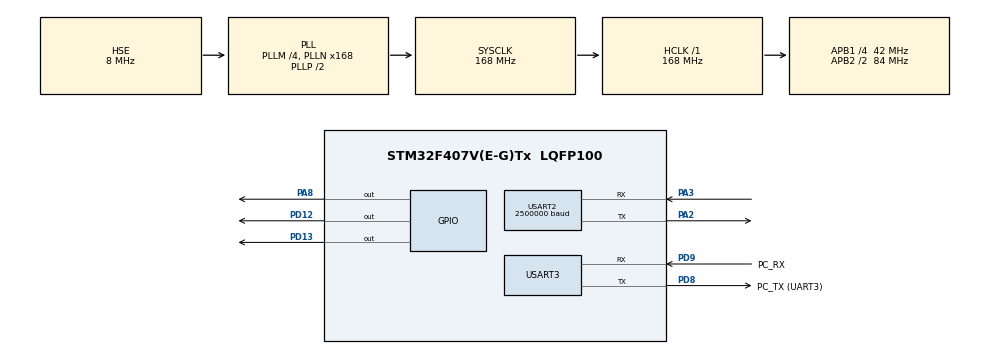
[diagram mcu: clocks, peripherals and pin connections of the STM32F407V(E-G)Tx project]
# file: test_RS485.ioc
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Dma.Request0=USART2_RX
Dma.Request1=USART2_TX
Dma.USART2_RX.0.Direction=DMA_PERIPH_TO_MEMORY
Dma.USART2_RX.0.FIFOMode=DMA_FIFOMODE_DISABLE
Dma.USART2_RX.0.Instance=DMA1_Stream5
Dma.USART2_RX.0.MemDataAlignment=DMA_MDATAALIGN_BYTE
Dma.USART2_RX.0.MemInc=DMA_MINC_ENABLE
Dma.USART2_RX.0.Mode=DMA_NORMAL
Dma.USART2_RX.0.PeriphDataAlignment=DMA_PDATAALIGN_BYTE
Dma.USART2_RX.0.PeriphInc=DMA_PINC_DISABLE
Dma.USART2_RX.0.Priority=DMA_PRIORITY_LOW
Dma.USART2_TX.1.Direction=DMA_MEMORY_TO_PERIPH
Dma.USART2_TX.1.FIFOMode=DMA_FIFOMODE_DISABLE
Dma.USART2_TX.1.Instance=DMA1_Stream6
Dma.USART2_TX.1.MemDataAlignment=DMA_MDATAALIGN_BYTE
Dma.USART2_TX.1.MemInc=DMA_MINC_ENABLE
Dma.USART2_TX.1.Mode=DMA_CIRCULAR
Dma.USART2_TX.1.PeriphDataAlignment=DMA_PDATAALIGN_BYTE
Dma.USART2_TX.1.PeriphInc=DMA_PINC_DISABLE
Dma.USART2_TX.1.Priority=DMA_PRIORITY_LOW
Mcu.Family=STM32F4
Mcu.Name=STM32F407V(E-G)Tx
Mcu.Package=LQFP100
NVIC.DMA1_Stream5_IRQn=true\:14\:0\:true\:false\:true\:false\:true\:true
NVIC.DMA1_Stream6_IRQn=true\:14\:0\:true\:false\:true\:false\:true\:true
NVIC.PriorityGroup=NVIC_PRIORITYGROUP_4
NVIC.USART2_IRQn=true\:14\:0\:true\:false\:true\:true\:true\:true
NVIC.USART3_IRQn=true\:14\:0\:true\:false\:true\:true\:true\:true
PA2.Mode=Asynchronous
PA2.Signal=USART2_TX
PA3.Mode=Asynchronous
PA3.Signal=USART2_RX
PA8.GPIO_Speed=GPIO_SPEED_FREQ_VERY_HIGH
PA8.Signal=GPIO_Output
PD12.Signal=GPIO_Output
PD13.Signal=GPIO_Output
PD8.GPIO_Label=PC_TX (UART3)
PD8.Mode=Asynchronous
PD8.Signal=USART3_TX
PD9.GPIO_Label=PC_RX
PD9.Mode=Asynchronous
PD9.Signal=USART3_RX
PH0-OSC_IN.Mode=HSE-External-Oscillator
PH0-OSC_IN.Signal=RCC_OSC_IN
PH1-OSC_OUT.Mode=HSE-External-Oscillator
PH1-OSC_OUT.Signal=RCC_OSC_OUT
ProjectManager.HeapSize=0x200
ProjectManager.StackSize=0x400
ProjectManager.TargetToolchain=MDK-ARM V5
RCC.48MHZClocksFreq_Value=84000000
RCC.AHBFreq_Value=168000000
RCC.APB1CLKDivider=RCC_HCLK_DIV4
RCC.APB1Freq_Value=42000000
RCC.APB1TimFreq_Value=84000000
RCC.APB2CLKDivider=RCC_HCLK_DIV2
RCC.APB2Freq_Value=84000000
RCC.APB2TimFreq_Value=168000000
RCC.CortexFreq_Value=168000000
RCC.HCLKFreq_Value=168000000
RCC.HSE_VALUE=8000000
RCC.HSI_VALUE=16000000
RCC.LSE_VALUE=32768
RCC.PLLM=4
RCC.PLLN=168
RCC.PLLSourceVirtual=RCC_PLLSOURCE_HSE
RCC.SYSCLKFreq_VALUE=168000000
RCC.SYSCLKSource=RCC_SYSCLKSOURCE_PLLCLK
RCC.VCOOutputFreq_Value=336000000
TIM8.Period=0xffff-1
TIM8.Prescaler=168-1
USART2.BaudRate=2500000
USART2.VirtualMode=VM_ASYNC
USART3.VirtualMode=VM_ASYNC
VP_TIM8_VS_ClockSourceINT.Mode=Internal
board=custom

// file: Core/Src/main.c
/* USER CODE BEGIN Header */
/**
  ******************************************************************************
  * @file           : main.c
  * @brief          : Main program body
  ******************************************************************************
  * @attention
  *
  * Copyright (c) 2022 STMicroelectronics.
  * All rights reserved.
  *
  * This software is licensed under terms that can be found in the LICENSE file
  * in the root directory of this software component.
  * If no LICENSE file comes with this software, it is provided AS-IS.
  *
  ******************************************************************************
  */
/* USER CODE END Header */
#include "main.h"

/* USER CODE BEGIN Includes */
#include "stdlib.h"
#include "stdio.h"
#include "stdarg.h"
#include "math.h"

#include "RMD_L_RS485.h"
/* USER CODE END Includes */

/* USER CODE BEGIN PTD */
#define PI		3.14159265358979323846

float Amp = 60*PI/180.*(1000./17.); //tracking amplitude
float F = 0.6; //tracking freq

/* USER CODE END PTD */

 TIM_HandleTypeDef htim8;

UART_HandleTypeDef huart2;
UART_HandleTypeDef huart3;
DMA_HandleTypeDef hdma_usart2_rx;
DMA_HandleTypeDef hdma_usart2_tx;

void SystemClock_Config(void);
static void MX_GPIO_Init(void);
static void MX_USART3_UART_Init(void);
static void MX_DMA_Init(void);
static void MX_USART2_UART_Init(void);
static void MX_TIM8_Init(void);
/* USER CODE BEGIN PFP */

void printData(char* format, ...){

  char* str = malloc( 64 * sizeof(char) );
  va_list ap;
  va_start(ap, format);
  vsprintf(str, format, ap);
  HAL_UART_Transmit(&huart3, (uint8_t *)str, strlen(str), 100);
  va_end(ap);

  free(str);
}

/* USER CODE END PFP */

/* USER CODE BEGIN 0 */
uint8_t CMD = 0;
// RMD_Motordef Motor1 = {
//     .ID = 1
// };
RMD_Motordef Motor[2] = {
            {.ID = 1},
            {.ID = 4}
    };
/* USER CODE END 0 */

int main(void)
{

  /* MCU Configuration--------------------------------------------------------*/

  /* Reset of all peripherals, Initializes the Flash interface and the Systick. */
  HAL_Init();

  /* Configure the system clock */
  SystemClock_Config();

  /* Initialize all configured peripherals */
  MX_GPIO_Init();
  MX_USART3_UART_Init();
  MX_DMA_Init();
  MX_USART2_UART_Init();
  MX_TIM8_Init();
  /* USER CODE BEGIN 2 */
  printData("test start...\n");
  RS_Init_Handle(&huart2, GPIOA, GPIO_PIN_8, &htim8);

  RS_SetZero_CurPosition(&Motor[0]);
  HAL_Delay(100);
  RS_SetZero_CurPosition(&Motor[1]);
  HAL_Delay(100);

  HAL_GPIO_TogglePin(GPIOD, GPIO_PIN_12);
  HAL_GPIO_TogglePin(GPIOD, GPIO_PIN_13);
  RS_CloseBLDC(&Motor[0]);HAL_Delay(1);RS_CloseBLDC(&Motor[1]);
  RS_Write_PID_RAM(&Motor[0], 100, 5, 200, 5, 100, 5);
  // RS_Write_PID_RAM(1, 50, 50, 100, 5, 100, 50);
  int16_t angleCMD = 0;
  int t;

  HAL_UART_Receive_IT(&huart3, &CMD, 1);
  /* USER CODE END 2 */

  /* Infinite loop */
  /* USER CODE BEGIN WHILE */
  while (1)
  {
    switch(CMD){
      case 49:
        RS_CloseBLDC(&Motor[0]);delay_us(500);
        RS_CloseBLDC(&Motor[1]);
        CMD = 0;
        break;
      case 50:
        t = HAL_GetTick();
        angleCMD = (int16_t)(Amp*sin(2.*PI*F*t/1000.)*100);
        RS_ABSangleControl(&Motor[0], angleCMD, 1800);
        RS_Read_MultiAngle(&Motor[0]);
        printData("%d %d %.2f ",t, angleCMD, Motor[0].state.angle);
        RS_ABSangleControl(&Motor[1], angleCMD, 1800);
        RS_Read_MultiAngle(&Motor[1]);
        printData("%.2f\n",Motor[1].state.angle);
        HAL_Delay(1);
        break;
      case 51:
        RS_SET_BaudRate(&Motor[0], 0x04);
        HAL_Delay(1);
        RS_SET_BaudRate(&Motor[1], 0x04);
        printData("OK\n");
        CMD = 0;
        break;
      case 52:
        RS_Read_MultiAngle(&Motor[0]);//HAL_Delay(1);
        RS_Read_MultiAngle(&Motor[1]);
        printData("%.2f %.2f\n", Motor[0].state.angle, Motor[1].state.angle);
        CMD = 0;
        break;
      case 53:
        RS_GET_MotorType(&Motor[0]);
        printData("%s\n",Motor[0].Type[0]);
        CMD = 0;
        break;
      case 54:
        RS_SET_485ID(Motor, 1, 0, sizeof(Motor)/sizeof(RMD_Motordef));
        CMD = 0;
        break;
      case 55:
        t = HAL_GetTick();
        RS_ReadState3(&Motor[0]);
        RS_speedControl(&Motor[0], 18000);
        printData("%d %.2f %.2f %.2f\n",t, Motor[0].state.A_Phase_cur, Motor[0].state.B_Phase_cur, Motor[0].state.C_Phase_cur);
        break;
      default:
        break;
    }
    /* USER CODE END WHILE */

  }
}

void SystemClock_Config(void)
{
  RCC_OscInitTypeDef RCC_OscInitStruct = {0};
  RCC_ClkInitTypeDef RCC_ClkInitStruct = {0};

  /** Configure the main internal regulator output voltage
  */
  __HAL_RCC_PWR_CLK_ENABLE();
  __HAL_PWR_VOLTAGESCALING_CONFIG(PWR_REGULATOR_VOLTAGE_SCALE1);

  /** Initializes the RCC Oscillators according to the specified parameters
  * in the RCC_OscInitTypeDef structure.
  */
  RCC_OscInitStruct.OscillatorType = RCC_OSCILLATORTYPE_HSE;
  RCC_OscInitStruct.HSEState = RCC_HSE_ON;
  RCC_OscInitStruct.PLL.PLLState = RCC_PLL_ON;
  RCC_OscInitStruct.PLL.PLLSource = RCC_PLLSOURCE_HSE;
  RCC_OscInitStruct.PLL.PLLM = 4;
  RCC_OscInitStruct.PLL.PLLN = 168;
  RCC_OscInitStruct.PLL.PLLP = RCC_PLLP_DIV2;
  RCC_OscInitStruct.PLL.PLLQ = 4;
  if (HAL_RCC_OscConfig(&RCC_OscInitStruct) != HAL_OK)
  {
    Error_Handler();
  }

  /** Initializes the CPU, AHB and APB buses clocks
  */
  RCC_ClkInitStruct.ClockType = RCC_CLOCKTYPE_HCLK|RCC_CLOCKTYPE_SYSCLK
                              |RCC_CLOCKTYPE_PCLK1|RCC_CLOCKTYPE_PCLK2;
  RCC_ClkInitStruct.SYSCLKSource = RCC_SYSCLKSOURCE_PLLCLK;
  RCC_ClkInitStruct.AHBCLKDivider = RCC_SYSCLK_DIV1;
  RCC_ClkInitStruct.APB1CLKDivider = RCC_HCLK_DIV4;
  RCC_ClkInitStruct.APB2CLKDivider = RCC_HCLK_DIV2;

  if (HAL_RCC_ClockConfig(&RCC_ClkInitStruct, FLASH_LATENCY_5) != HAL_OK)
  {
    Error_Handler();
  }
}

static void MX_TIM8_Init(void)
{

  TIM_ClockConfigTypeDef sClockSourceConfig = {0};
  TIM_MasterConfigTypeDef sMasterConfig = {0};

  htim8.Instance = TIM8;
  htim8.Init.Prescaler = 168-1;
  htim8.Init.CounterMode = TIM_COUNTERMODE_UP;
  htim8.Init.Period = 0xffff-1;
  htim8.Init.ClockDivision = TIM_CLOCKDIVISION_DIV1;
  htim8.Init.RepetitionCounter = 0;
  htim8.Init.AutoReloadPreload = TIM_AUTORELOAD_PRELOAD_DISABLE;
  if (HAL_TIM_Base_Init(&htim8) != HAL_OK)
  {
    Error_Handler();
  }
  sClockSourceConfig.ClockSource = TIM_CLOCKSOURCE_INTERNAL;
  if (HAL_TIM_ConfigClockSource(&htim8, &sClockSourceConfig) != HAL_OK)
  {
    Error_Handler();
  }
  sMasterConfig.MasterOutputTrigger = TIM_TRGO_RESET;
  sMasterConfig.MasterSlaveMode = TIM_MASTERSLAVEMODE_DISABLE;
  if (HAL_TIMEx_MasterConfigSynchronization(&htim8, &sMasterConfig) != HAL_OK)
  {
    Error_Handler();
  }

}

static void MX_USART2_UART_Init(void)
{

  huart2.Instance = USART2;
  huart2.Init.BaudRate = 2500000;
  huart2.Init.WordLength = UART_WORDLENGTH_8B;
  huart2.Init.StopBits = UART_STOPBITS_1;
  huart2.Init.Parity = UART_PARITY_NONE;
  huart2.Init.Mode = UART_MODE_TX_RX;
  huart2.Init.HwFlowCtl = UART_HWCONTROL_NONE;
  huart2.Init.OverSampling = UART_OVERSAMPLING_16;
  if (HAL_UART_Init(&huart2) != HAL_OK)
  {
    Error_Handler();
  }

}

static void MX_USART3_UART_Init(void)
{

  huart3.Instance = USART3;
  huart3.Init.BaudRate = 115200;
  huart3.Init.WordLength = UART_WORDLENGTH_8B;
  huart3.Init.StopBits = UART_STOPBITS_1;
  huart3.Init.Parity = UART_PARITY_NONE;
  huart3.Init.Mode = UART_MODE_TX_RX;
  huart3.Init.HwFlowCtl = UART_HWCONTROL_NONE;
  huart3.Init.OverSampling = UART_OVERSAMPLING_16;
  if (HAL_UART_Init(&huart3) != HAL_OK)
  {
    Error_Handler();
  }

}

static void MX_DMA_Init(void)
{

  /* DMA controller clock enable */
  __HAL_RCC_DMA1_CLK_ENABLE();

  /* DMA interrupt init */
  /* DMA1_Stream5_IRQn interrupt configuration */
  HAL_NVIC_SetPriority(DMA1_Stream5_IRQn, 14, 0);
  HAL_NVIC_EnableIRQ(DMA1_Stream5_IRQn);
  /* DMA1_Stream6_IRQn interrupt configuration */
  HAL_NVIC_SetPriority(DMA1_Stream6_IRQn, 14, 0);
  HAL_NVIC_EnableIRQ(DMA1_Stream6_IRQn);

}

static void MX_GPIO_Init(void)
{
  GPIO_InitTypeDef GPIO_InitStruct = {0};

  /* GPIO Ports Clock Enable */
  __HAL_RCC_GPIOH_CLK_ENABLE();
  __HAL_RCC_GPIOA_CLK_ENABLE();
  __HAL_RCC_GPIOD_CLK_ENABLE();

  /*Configure GPIO pin Output Level */
  HAL_GPIO_WritePin(GPIOD, GPIO_PIN_12|GPIO_PIN_13, GPIO_PIN_RESET);

  /*Configure GPIO pin Output Level */
  HAL_GPIO_WritePin(GPIOA, GPIO_PIN_8, GPIO_PIN_RESET);

  /*Configure GPIO pins : PD12 PD13 */
  GPIO_InitStruct.Pin = GPIO_PIN_12|GPIO_PIN_13;
  GPIO_InitStruct.Mode = GPIO_MODE_OUTPUT_PP;
  GPIO_InitStruct.Pull = GPIO_NOPULL;
  GPIO_InitStruct.Speed = GPIO_SPEED_FREQ_LOW;
  HAL_GPIO_Init(GPIOD, &GPIO_InitStruct);

  /*Configure GPIO pin : PA8 */
  GPIO_InitStruct.Pin = GPIO_PIN_8;
  GPIO_InitStruct.Mode = GPIO_MODE_OUTPUT_PP;
  GPIO_InitStruct.Pull = GPIO_NOPULL;
  GPIO_InitStruct.Speed = GPIO_SPEED_FREQ_VERY_HIGH;
  HAL_GPIO_Init(GPIOA, &GPIO_InitStruct);

}

/* USER CODE BEGIN 4 */
void HAL_UART_RxCpltCallback(UART_HandleTypeDef *huart){
  // for(uint8_t i = 0; i<=12; i++){
  // printData("%x ", RxData[i]);
  // }
  // printData("\n");
  // if (huart->Instance == USART3){
  //   printData("%x\n\n", RxData[0]);
  //   HAL_UART_Receive_IT(&huart3, RxData, 1);
  // }
  // RS485_TX_Mode;
  // HAL_UART_Transmit(&huart2, (uint8_t *)0x01, 1, 100);
  // RS485_RX_Mode;
  // if (huart->Instance == huart3.Instance){
    // HAL_GPIO_TogglePin(GPIOD, GPIO_PIN_12);
  // }
  // printData("Rx test: %x\n", command[0]);
  // HAL_UART_Receive_IT(&huart2, RxData, 13);
  printData("test: %d\n", CMD);
  HAL_UART_Receive_IT(&huart3, &CMD, 1);
}
/* USER CODE END 4 */

void Error_Handler(void)
{
  /* USER CODE BEGIN Error_Handler_Debug */
  /* User can add his own implementation to report the HAL error return state */
  __disable_irq();
  printData("Error\n");
  while (1)
  {
  }
  /* USER CODE END Error_Handler_Debug */
}
